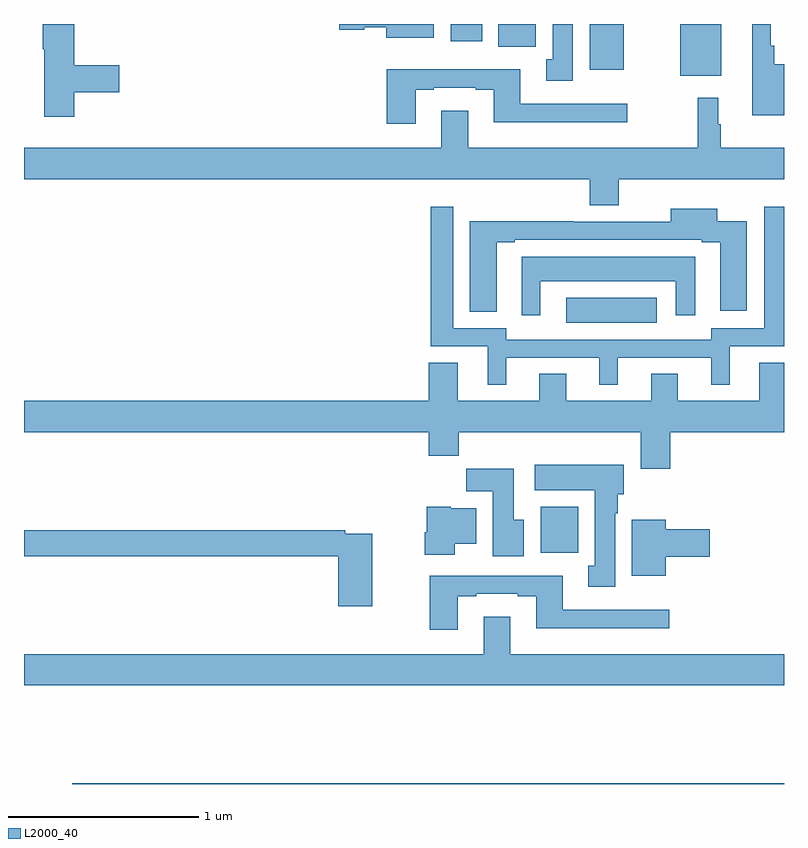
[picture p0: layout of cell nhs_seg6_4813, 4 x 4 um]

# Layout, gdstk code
import gdstk
lib = gdstk.Library(unit=1e-6, precision=1e-09)
def R(c, l, rs):  # rectangles x0, y0, x1, y1
    for r in rs: c.add(gdstk.rectangle(r[:2], r[2:], *l))
def P(c, l, *ps):  # polygons
    for p in ps: c.add(gdstk.Polygon(p, *l))
L2000_40 = (2000, 40)

nhs_seg6_4813 = lib.new_cell('nhs_seg6_4813')
R(nhs_seg6_4813, L2000_40, [(397.253,929.5,401,929.504), (399.719,930.716,399.916,930.958), (399.855,931.928,400.33,932.059), (400.454,933.227,400.669,933.5), (399.977,933.26,400.156,933.5), (399.497,933.38,399.694,933.5), (399.245,933.408,399.412,933.5)])
P(nhs_seg6_4813, L2000_40, [(401,933.289),(400.949,933.289),(400.949,933.385),(400.929,933.385),(400.929,933.5),(400.832,933.5),(400.832,933.02),(401,933.02)],
  [(399.157,933.5),(398.658,933.5),(398.658,933.47),(398.79,933.47),(398.79,933.482),(398.906,933.482),(398.906,933.428),(399.157,933.428)],
  [(399.889,933.5),(399.782,933.5),(399.782,933.314),(399.749,933.314),(399.749,933.201),(399.889,933.201)],
  [(397.265,933.142),(397.501,933.142),(397.501,933.284),(397.265,933.284),(397.265,933.5),(397.099,933.5),(397.099,933.367),(397.106,933.367),(397.106,933.012),(397.265,933.012)],
  [(399.061,933.153),(399.157,933.153),(399.157,933.165),(399.377,933.165),(399.377,933.153),(399.473,933.153),(399.473,932.984),(400.174,932.984),(400.174,933.081),(399.613,933.081),(399.613,933.262),(398.909,933.262),(398.909,932.976),(399.061,932.976)],
  [(400.129,932.684),(401,932.684),(401,932.848),(400.666,932.848),(400.666,932.972),(400.654,932.972),(400.654,933.112),(400.545,933.112),(400.545,932.848),(399.337,932.848),(399.337,933.043),(399.197,933.043),(399.197,932.848),(397,932.848),(397,932.684),(399.977,932.684),(399.977,932.545),(400.129,932.545)],
  [(399.538,931.743),(400.028,931.743),(400.028,931.602),(400.126,931.602),(400.126,931.743),(400.616,931.743),(400.616,931.602),(400.714,931.602),(400.714,931.803),(401,931.803),(401,932.539),(400.896,932.539),(400.896,931.899),(400.617,931.899),(400.617,931.839),(399.537,931.839),(399.537,931.899),(399.258,931.899),(399.258,932.539),(399.142,932.539),(399.142,931.803),(399.44,931.803),(399.44,931.602),(399.538,931.602)],
  [(399.487,932.352),(399.583,932.352),(399.583,932.364),(400.568,932.364),(400.568,932.352),(400.664,932.352),(400.664,931.992),(400.804,931.992),(400.804,932.463),(400.648,932.463),(400.648,932.527),(400.403,932.527),(400.403,932.46),(399.893,932.46),(399.893,932.463),(399.347,932.463),(399.347,931.986),(399.487,931.986)],
  [(399.718,932.147),(400.43,932.147),(400.43,931.968),(400.534,931.968),(400.534,932.275),(399.62,932.275),(399.62,931.968),(399.718,931.968)],
  [(400.4,931.352),(401,931.352),(401,931.718),(400.871,931.718),(400.871,931.516),(400.441,931.516),(400.441,931.658),(400.301,931.658),(400.301,931.516),(399.853,931.516),(399.853,931.658),(399.713,931.658),(399.713,931.516),(399.283,931.516),(399.283,931.718),(399.131,931.718),(399.131,931.516),(397,931.516),(397,931.352),(399.131,931.352),(399.131,931.228),(399.287,931.228),(399.287,931.352),(400.247,931.352),(400.247,931.158),(400.4,931.158)],
  [(400.111,930.926),(400.126,930.926),(400.126,931.026),(400.156,931.026),(400.156,931.18),(399.687,931.18),(399.687,931.046),(400.004,931.046),(400.004,930.65),(399.971,930.65),(399.971,930.537),(400.111,930.537)],
  [(399.631,930.892),(399.577,930.892),(399.577,931.159),(399.328,931.159),(399.328,931.04),(399.467,931.04),(399.467,930.699),(399.631,930.699)],
  [(399.268,930.764),(399.379,930.764),(399.379,930.952),(399.246,930.952),(399.246,930.958),(399.121,930.958),(399.121,930.825),(399.11,930.825),(399.11,930.707),(399.268,930.707)],
  [(400.378,930.695),(400.609,930.695),(400.609,930.842),(400.378,930.842),(400.378,930.892),(400.199,930.892),(400.199,930.596),(400.378,930.596)],
  [(398.832,930.816),(398.69,930.816),(398.69,930.836),(397,930.836),(397,930.7),(398.654,930.7),(398.654,930.435),(398.832,930.435)],
  [(399.283,930.489),(399.379,930.489),(399.379,930.501),(399.599,930.501),(399.599,930.489),(399.695,930.489),(399.695,930.32),(400.396,930.32),(400.396,930.417),(399.835,930.417),(399.835,930.597),(399.136,930.597),(399.136,930.312),(399.283,930.312)],
  [(401,930.184),(399.559,930.184),(399.559,930.379),(399.419,930.379),(399.419,930.184),(397,930.184),(397,930.02),(401,930.02)])

lib.write_gds('nhs_seg6_4813.gds')
